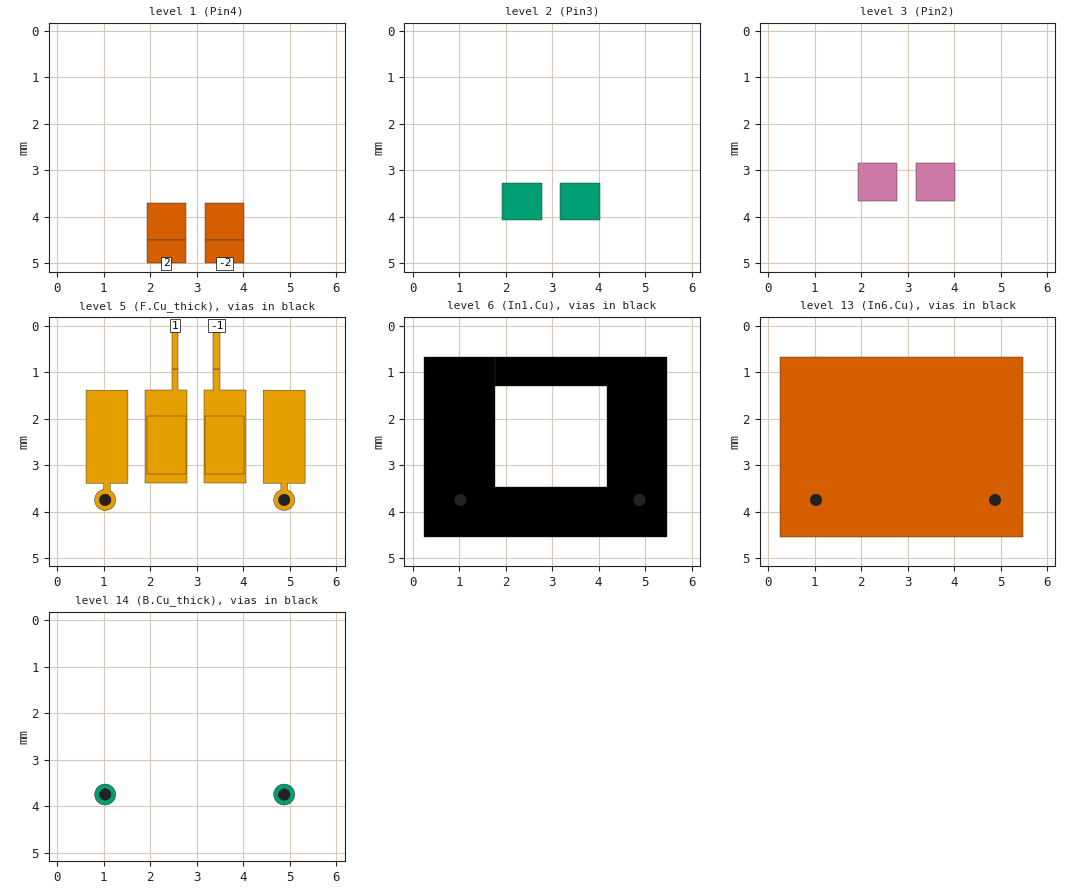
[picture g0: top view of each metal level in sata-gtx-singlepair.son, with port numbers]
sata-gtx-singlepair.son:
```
FTYP SONPROJ 19 ! Sonnet Project File
VER 18.52
HEADER
LIC antikernel2.1.51176
DAT 01/05/2022 16:23:59
BUILT_BY_CREATED dxf 18.52 12/15/2021 18:24:32
BUILT_BY_SAVED sonnet 18.52
MDATE 01/05/2022 16:23:59
HDATE 01/05/2022 16:23:59
ANN Created by dxfgeo, Sonnet Software Inc.
END HEADER
DIM
ANG DEG
CAP PF
CON /OH
FREQ GHZ
IND NH
LNG MM
RES OH
END DIM
CONTROL
VARSWP
OPTIONS  -dj
SPEED 1
CACHE_ABS 2
Q_ACC N
END CONTROL
GEO
DRP1 TOP LINK
POLY 6565 1
0
DRP1 BOTTOM LINK
POLY 6605 1
0
TMET "Free Space" 0 FREESPACE 376.7303136 0 0 0
BMET "Free Space" 0 FREESPACE 376.7303136 0 0 0
MET "Copper_1oz_thin" 1 NOR 58000000 0.5 0.035 
MET "Copper_1oz_thick" 2 TMM 58000000 0.5 0.035 2
MET "Copper_0.5oz_thin" 4 NOR 58000000 0.5 0.017 
MET "Copper_0.5oz_thick" 12 TMM 58000000 0.5 0.017 2
MET "Copper_0.5oz_thick_down" 5 TMM 58000000 0.5 0.017 2 CDVY TDWN
MET "Copper_1oz_thick_down" 3 TMM 58000000 0.5 0.035 2 CDVY TDWN
MET "ConnectorPin" 9 TMM 58000000 0.5 0.3 3
BOX 16 6 5 480 400 20 0
      5 1 1 0 0 0 0 "Air"
      0.3 1 1 0 0 0 0 "Air"
      0.3 1 1 0 0 0 0 "Air"
      0.3 1 1 0 0 0 0 "Air"
      0.26 1 1 0 0 0 0 "Air"
      0.04 3.5 1 0.025 0 0 0 "Soldermask"
      0.075 3.39 1 0.004 0 0 0 "Panasonic_R-5775(G)"
      0.068 3.56 1 0.004 0 0 0 "Panasonic_R-5670(G)"
      0.13 3.39 1 0.004 0 0 0 "Panasonic_R-5775(G)"
      0.092 3.56 1 0.004 0 0 0 "Panasonic_R-5670(G)"
      0.609 3.39 1 0.004 0 0 0 "Panasonic_R-5775(G)"
      0.092 3.56 1 0.004 0 0 0 "Panasonic_R-5670(G)"
      0.13 3.39 1 0.004 0 0 0 "Panasonic_R-5775(G)"
      0.068 3.56 1 0.004 0 0 0 "Panasonic_R-5670(G)"
      0.075 3.39 1 0.004 0 0 0 "Panasonic_R-5775(G)"
      0.04 3.5 1 0.025 0 0 0 "Soldermask"
      5 1 1 0 0 0 0 "Air"
TECHLAY METAL Pin4 <UNSPECIFIED> -17 0 
1 0 6 N 6598 1 1 100 100 0 0 0 Y
END
END
TECHLAY METAL Pin2 <UNSPECIFIED> -15 0 
3 0 6 N 6577 1 1 100 100 0 0 0 Y
END
END
TECHLAY METAL F.Cu_thick L1D0 -2 -65534 CAD F.Cu_thick drawing 
5 0 1 N 6449 1 1 100 100 0 0 0 Y
END
END
TECHLAY VIA Via1 L9D0 -13 -65534 CAD Via1 drawing 
VIA POLYGON
5 0 -1 N 6544 1 1 100 100 0 0 0 Y
TOLEVEL 14 RING NOCOVERS
END
END
TECHLAY METAL F.Cu_thin <UNSPECIFIED> -1 -65534 CAD F.Cu_thin drawing 
5 0 0 N 6457 1 1 100 100 0 0 0 Y
END
END
TECHLAY METAL ConnectorPin1 <UNSPECIFIED> -14 -65534 
5 0 6 N 6459 1 1 100 100 0 0 0 Y
END
END
TECHLAY METAL Pin3 <UNSPECIFIED> -16 0 
2 0 6 N 6590 1 1 100 100 0 0 0 Y
END
END
TECHLAY METAL In1.Cu L2D0 -3 -65534 CAD In1.Cu drawing 
6 0 0 N 6474 1 1 100 100 0 0 0 Y
END
END
TECHLAY METAL In2.Cu_thick L3D0 -5 -65534 CAD In2.Cu_thick drawing 
7 0 3 N 6477 1 1 100 100 0 0 0 Y
END
END
TECHLAY METAL In2.Cu_thin <UNSPECIFIED> -4 -65534 CAD In2.Cu drawing 
7 0 2 N 6479 1 1 100 100 0 0 0 Y
END
END
TECHLAY METAL In3.Cu L4D0 -6 -65534 CAD In3.Cu drawing 
8 0 0 N 6482 1 1 100 100 0 0 0 Y
END
END
TECHLAY METAL In4.Cu L5D0 -7 -65534 CAD In4.Cu drawing 
11 0 0 N 6487 1 1 100 100 0 0 0 Y
END
END
TECHLAY METAL In5.Cu_thick L6D0 -9 -65534 CAD In5.Cu_thick drawing 
12 0 4 N 6490 1 1 100 100 0 0 0 Y
END
END
TECHLAY METAL In5.Cu_thin <UNSPECIFIED> -8 -65534 CAD In5.Cu drawing 
12 0 2 N 6492 1 1 100 100 0 0 0 Y
END
END
TECHLAY METAL In6.Cu L7D0 -10 -65534 CAD In6.Cu drawing 
13 0 0 N 6495 1 1 100 100 0 0 0 Y
END
END
TECHLAY METAL B.Cu_thick L8D0 -12 -65534 CAD B.Cu_thick drawing 
14 0 5 N 6498 1 1 100 100 0 0 0 Y
END
END
TECHLAY METAL B.Cu_thin <UNSPECIFIED> -11 -65534 CAD B.Cu_thin drawing 
14 0 0 N 6500 1 1 100 100 0 0 0 Y
END
END
VALVAR CORE_ER NONE "table1(\"core_er.csv\",FREQ)" "Variable set in material file"
VALVAR CORE_DF NONE "table1(\"core_df.csv\",FREQ)" "Variable set in material file"
VALVAR PREPREG_DF NONE "table1(\"prepreg_df.csv\",FREQ)" "Variable set in material file"
VALVAR PREPREG_ER NONE "table1(\"prepreg_er.csv\",FREQ)" "Variable set in material file"
DIM STD YDIR -1
POS -0.1313118977 -1.176126135
NOM 1.25
REF1 POLY 6139 1
3
REF2 POLY 6139 1
0
END
DIM STD XDIR -1
POS -0.6199376824 -0.05596443287
NOM 0.85
REF1 POLY 6139 1
1
REF2 POLY 6139 1
0
END
DIM STD YDIR -1
POS -0.1206188682 -0.8768719987
NOM 0.8
REF1 POLY 6582 1
3
REF2 POLY 6582 1
0
END
LORGN 0 5 U 
POR1 BOX
POLY 6605 1
2
2 100 0 0 0 2.35 5 
POR1 BOX
POLY 6609 1
2
-2 100 0 0 0 3.6 5 
POR1 BOX
POLY 6565 1
2
1 100 0 0 0 2.532 0 
POR1 BOX
POLY 6569 1
2
-1 100 0 0 0 3.432 0 
NUM 22
1 5 6 N 6599 1 1 100 100 0 0 0 Y
TLAYNAM Pin4 INH
1.925 3.7
2.775 3.7
2.775 4.5
1.925 4.5
1.925 3.7
END
1 5 6 N 6600 1 1 100 100 0 0 0 Y
TLAYNAM Pin4 INH
3.175 3.7
4.025 3.7
4.025 4.5
3.175 4.5
3.175 3.7
END
1 5 6 N 6605 1 1 100 100 0 0 0 Y
TLAYNAM Pin4 INH
2.775 4.5
1.925 4.5
1.925 5
2.775 5
2.775 4.5
END
1 5 6 N 6609 1 1 100 100 0 0 0 Y
TLAYNAM Pin4 INH
4.025 4.5
3.175 4.5
3.175 5
4.025 5
4.025 4.5
END
2 5 6 N 6591 1 1 100 100 0 0 0 Y
TLAYNAM Pin3 INH
1.925 3.275
2.775 3.275
2.775 4.075
1.925 4.075
1.925 3.275
END
2 5 6 N 6594 1 1 100 100 0 0 0 Y
TLAYNAM Pin3 INH
3.175 3.275
4.025 3.275
4.025 4.075
3.175 4.075
3.175 3.275
END
3 5 6 N 6582 1 1 100 100 0 0 0 Y
TLAYNAM Pin2 INH
1.925 2.85
2.775 2.85
2.775 3.65
1.925 3.65
1.925 2.85
END
3 5 6 N 6585 1 1 100 100 0 0 0 Y
TLAYNAM Pin2 INH
3.175 2.85
4.025 2.85
4.025 3.65
3.175 3.65
3.175 2.85
END
5 67 1 N 243 1 1 100 100 0 0 0 Y
TLAYNAM F.Cu_thick INH
1.021 3.975
0.999 3.973
0.977 3.968
0.956 3.962
0.936 3.953
0.916 3.943
0.898 3.931
0.881 3.917
0.865 3.901
0.851 3.884
0.839 3.866
0.829 3.846
0.82 3.826
0.814 3.805
0.809 3.783
0.807 3.761
0.807 3.739
0.809 3.717
0.814 3.695
0.82 3.674
0.829 3.654
0.839 3.634
0.851 3.616
0.865 3.599
0.881 3.583
0.898 3.569
0.916 3.557
0.936 3.547
0.956 3.538
0.977 3.532
0.999 3.527
1.002 3.527
1.002 3.39
0.622 3.39
0.622 1.39
1.522 1.39
1.522 3.39
1.142 3.39
1.142 3.554
1.148 3.557
1.166 3.569
1.183 3.583
1.199 3.599
1.213 3.616
1.225 3.634
1.235 3.654
1.244 3.674
1.25 3.695
1.255 3.717
1.257 3.739
1.257 3.761
1.255 3.783
1.25 3.805
1.244 3.826
1.235 3.846
1.225 3.866
1.213 3.884
1.199 3.901
1.183 3.917
1.166 3.931
1.148 3.943
1.128 3.953
1.108 3.962
1.087 3.968
1.065 3.973
1.043 3.975
1.021 3.975
END
5 67 1 N 512 1 1 100 100 0 0 0 Y
TLAYNAM F.Cu_thick INH
4.871 3.975
4.849 3.973
4.827 3.968
4.806 3.962
4.786 3.953
4.766 3.943
4.748 3.931
4.731 3.917
4.715 3.901
4.701 3.884
4.689 3.866
4.679 3.846
4.67 3.826
4.664 3.805
4.659 3.783
4.657 3.761
4.657 3.739
4.659 3.717
4.664 3.695
4.67 3.674
4.679 3.654
4.689 3.634
4.701 3.616
4.715 3.599
4.731 3.583
4.748 3.569
4.766 3.557
4.786 3.547
4.806 3.538
4.812 3.536
4.812 3.39
4.432 3.39
4.432 1.39
5.332 1.39
5.332 3.39
4.952 3.39
4.952 3.536
4.958 3.538
4.978 3.547
4.998 3.557
5.016 3.569
5.033 3.583
5.049 3.599
5.063 3.616
5.075 3.634
5.085 3.654
5.094 3.674
5.1 3.695
5.105 3.717
5.107 3.739
5.107 3.761
5.105 3.783
5.1 3.805
5.094 3.826
5.085 3.846
5.075 3.866
5.063 3.884
5.049 3.901
5.033 3.917
5.016 3.931
4.998 3.943
4.978 3.953
4.958 3.962
4.937 3.968
4.915 3.973
4.893 3.975
4.871 3.975
END
5 9 1 N 6515 1 1 100 100 0 0 0 Y
TLAYNAM F.Cu_thick INH
4.062 1.39
3.502 1.39
3.502 0.925
3.362 0.925
3.362 1.39
3.162 1.39
3.162 3.39
4.062 3.39
4.062 1.39
END
5 9 1 N 6516 1 1 100 100 0 0 0 Y
TLAYNAM F.Cu_thick INH
2.792 1.39
2.602 1.39
2.602 0.925
2.462 0.925
2.462 1.39
1.892 1.39
1.892 3.39
2.792 3.39
2.792 1.39
END
5 5 1 N 6565 1 1 100 100 0 0 0 Y
TLAYNAM F.Cu_thick INH
2.602 0.925
2.462 0.925
2.462 0
2.602 0
2.602 0.925
END
5 5 1 N 6569 1 1 100 100 0 0 0 Y
TLAYNAM F.Cu_thick INH
3.502 0.925
3.362 0.925
3.362 0
3.502 0
3.502 0.925
END
VIA POLYGON
5 53 -1 N 5255 1 1 100 100 0 0 0 Y
TOLEVEL 14 RING NOCOVERS
TLAYNAM Via1 INH
1.032 3.875
1.008 3.873
0.996 3.87
0.984 3.865
0.973 3.86
0.963 3.854
0.953 3.847
0.935 3.829
0.928 3.819
0.922 3.809
0.917 3.798
0.912 3.786
0.909 3.774
0.907 3.75
0.909 3.726
0.912 3.714
0.917 3.702
0.922 3.691
0.928 3.681
0.935 3.671
0.953 3.653
0.963 3.646
0.973 3.64
0.984 3.635
0.996 3.63
1.008 3.627
1.032 3.625
1.056 3.627
1.068 3.63
1.08 3.635
1.091 3.64
1.101 3.646
1.111 3.653
1.129 3.671
1.136 3.681
1.142 3.691
1.147 3.702
1.152 3.714
1.155 3.726
1.157 3.75
1.155 3.774
1.152 3.786
1.147 3.798
1.142 3.809
1.136 3.819
1.129 3.829
1.111 3.847
1.101 3.854
1.091 3.86
1.08 3.865
1.068 3.87
1.056 3.873
1.032 3.875
END
VIA POLYGON
5 53 -1 N 5321 1 1 100 100 0 0 0 Y
TOLEVEL 14 RING NOCOVERS
TLAYNAM Via1 INH
4.882 3.875
4.858 3.873
4.846 3.87
4.834 3.865
4.823 3.86
4.813 3.854
4.803 3.847
4.785 3.829
4.778 3.819
4.772 3.809
4.767 3.798
4.762 3.786
4.759 3.774
4.757 3.75
4.759 3.726
4.762 3.714
4.767 3.702
4.772 3.691
4.778 3.681
4.785 3.671
4.803 3.653
4.813 3.646
4.823 3.64
4.834 3.635
4.846 3.63
4.858 3.627
4.882 3.625
4.906 3.627
4.918 3.63
4.93 3.635
4.941 3.64
4.951 3.646
4.961 3.653
4.979 3.671
4.986 3.681
4.992 3.691
4.997 3.702
5.002 3.714
5.005 3.726
5.007 3.75
5.005 3.774
5.002 3.786
4.997 3.798
4.992 3.809
4.986 3.819
4.979 3.829
4.961 3.847
4.951 3.854
4.941 3.86
4.93 3.865
4.918 3.87
4.906 3.873
4.882 3.875
END
5 5 6 N 6139 1 1 100 100 0 0 0 Y
TLAYNAM ConnectorPin1 INH
1.925 1.95
2.775 1.95
2.775 3.2
1.925 3.2
1.925 1.95
END
5 5 6 N 6146 1 1 100 100 0 0 0 Y
TLAYNAM ConnectorPin1 INH
3.175 1.95
4.025 1.95
4.025 3.2
3.175 3.2
3.175 1.95
END
6 16 0 N 6550 1 1 100 100 0 0 0 Y
TLAYNAM In1.Cu INH
5.475 1.05
5.475 1.05
5.475 0.675
1.775 0.675
1.775 1.3
4.175 1.3
4.175 3.475
1.775 3.475
1.775 1.3
1.775 0.675
0.25 0.675
0.25 0.925
0.25 0.925
0.25 4.55
5.475 4.55
5.475 1.05
END
13 8 0 N 6552 1 1 100 100 0 0 0 Y
TLAYNAM In6.Cu INH
5.475 0.925
5.475 0.925
5.475 0.675
0.25 0.675
0.25 0.925
0.25 4.55
5.475 4.55
5.475 0.925
END
14 65 5 N 4544 1 1 100 100 0 0 0 Y
TLAYNAM B.Cu_thick INH
1.021 3.975
0.999 3.973
0.977 3.968
0.956 3.962
0.936 3.953
0.916 3.943
0.898 3.931
0.881 3.917
0.865 3.901
0.851 3.884
0.839 3.866
0.829 3.846
0.82 3.826
0.814 3.805
0.809 3.783
0.807 3.761
0.807 3.739
0.809 3.717
0.814 3.695
0.82 3.674
0.829 3.654
0.839 3.634
0.851 3.616
0.865 3.599
0.881 3.583
0.898 3.569
0.916 3.557
0.936 3.547
0.956 3.538
0.977 3.532
0.999 3.527
1.021 3.525
1.043 3.525
1.065 3.527
1.087 3.532
1.108 3.538
1.128 3.547
1.148 3.557
1.166 3.569
1.183 3.583
1.199 3.599
1.213 3.616
1.225 3.634
1.235 3.654
1.244 3.674
1.25 3.695
1.255 3.717
1.257 3.739
1.257 3.761
1.255 3.783
1.25 3.805
1.244 3.826
1.235 3.846
1.225 3.866
1.213 3.884
1.199 3.901
1.183 3.917
1.166 3.931
1.148 3.943
1.128 3.953
1.108 3.962
1.087 3.968
1.065 3.973
1.043 3.975
1.021 3.975
END
14 65 5 N 4560 1 1 100 100 0 0 0 Y
TLAYNAM B.Cu_thick INH
4.871 3.975
4.849 3.973
4.827 3.968
4.806 3.962
4.786 3.953
4.766 3.943
4.748 3.931
4.731 3.917
4.715 3.901
4.701 3.884
4.689 3.866
4.679 3.846
4.67 3.826
4.664 3.805
4.659 3.783
4.657 3.761
4.657 3.739
4.659 3.717
4.664 3.695
4.67 3.674
4.679 3.654
4.689 3.634
4.701 3.616
4.715 3.599
4.731 3.583
4.748 3.569
4.766 3.557
4.786 3.547
4.806 3.538
4.827 3.532
4.849 3.527
4.871 3.525
4.893 3.525
4.915 3.527
4.937 3.532
4.958 3.538
4.978 3.547
4.998 3.557
5.016 3.569
5.033 3.583
5.049 3.599
5.063 3.616
5.075 3.634
5.085 3.654
5.094 3.674
5.1 3.695
5.105 3.717
5.107 3.739
5.107 3.761
5.105 3.783
5.1 3.805
5.094 3.826
5.085 3.846
5.075 3.866
5.063 3.884
5.049 3.901
5.033 3.917
5.016 3.931
4.998 3.943
4.978 3.953
4.958 3.962
4.937 3.968
4.915 3.973
4.893 3.975
4.871 3.975
END
END GEO
OPT
MAX 100
END OPT
VARSWP
ENABLED Y
FREQ Y AY ABS_ENTRY 0.001 12.0 -1 300 
END
END VARSWP
3DOPTIONS
GLOBAL 2
ALL 13 1
END 3DOPTIONS
```
